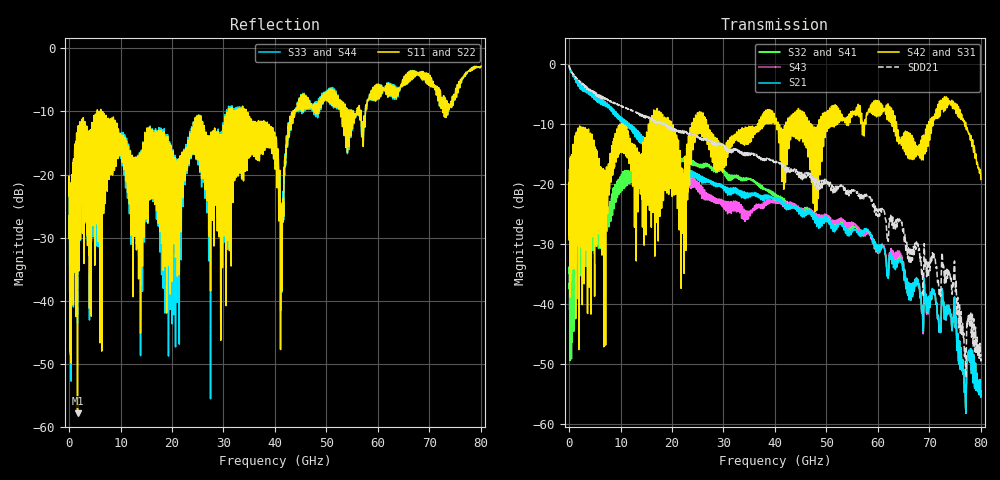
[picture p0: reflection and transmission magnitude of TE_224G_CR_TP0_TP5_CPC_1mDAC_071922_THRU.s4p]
!! Reference: tracy_3df_01_2211
!! CHANNEL DESCRIPTION: TP0_TP5 CR Channel using 1meter DAC, CoPackage Copper Host
!! MODEL DESCRIPTION: s4p, THRU
!! CONNECTOR DESCRIPTION: OSFP 200G OTB
!! CABLE DESCRIPTION: 1meter 26AWG Cable
!! MODEL STATUS: Developmental
!! PORT DEFINITIONS:
!! Port  1  ----->  Side A  Side B  <-----  Port  2
!! Port  3  ----->  Side A  Side B  <-----  Port  4
# Hz S MA R 50
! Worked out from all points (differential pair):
!   8000 points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, 10 MHz to 80 GHz, reference 50 ohm
!   strongest paths, dB at 10 MHz, 20.01 GHz, 40.01 GHz, 60.01 GHz, 80 GHz:
!     S42: -24.6, -20.2, -10.1, -8.2, -19.3
!     S31: -24.6, -20.2, -10.1, -8.2, -19.3
!     S21: -0.4, -17.4, -22.6, -31.4, -55.1
!     S43: -0.4, -18.3, -23.1, -31.6, -55.0
!     S32: -34.9, -15.4, -21.8, -31.5, -55.1
!     S41: -34.9, -15.4, -21.8, -31.5, -55.1
!   taken as a pair (ports 1,3 in; 2,4 out), SDD21 dB: -0.3, -10.6, -16.3, -25.4, -49.0
!   lowest |S11| = -57.8 dB at 1.64 GHz (marker M1), VSWR 1.00, Z = 49.9 - j0.00388 ohm
!   |S11| at or under -10 dB: start of sweep to 5.488 GHz; 6.171 GHz to 30.97 GHz (24.8 GHz wide, 134 % of centre); 34.4 GHz to 43.55 GHz (9.158 GHz wide, 23.5 % of centre)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
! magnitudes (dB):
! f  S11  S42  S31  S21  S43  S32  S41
! 10 MHz  -23.3  -24.6  -24.6  -0.4  -0.4  -34.9  -34.9
! 1.64 GHz  -57.8  -19.6  -19.6  -2.7  -2.8  -33.3  -33.3
! 35.37 GHz  -12.0  -12.2  -12.2  -21.5  -24.4  -19.2  -19.2
! 41.35 GHz  -38.4  -16.6  -16.6  -23.2  -23.4  -22.2  -22.2
! 45.04 GHz  -7.4  -12.3  -12.3  -25.2  -25.1  -25.2  -25.2
! 73.57 GHz  -10.1  -5.8  -5.8  -41.4  -41.4  -41.4  -41.4
! 80 GHz  -2.9  -19.3  -19.3  -55.1  -55.0  -55.1  -55.1
